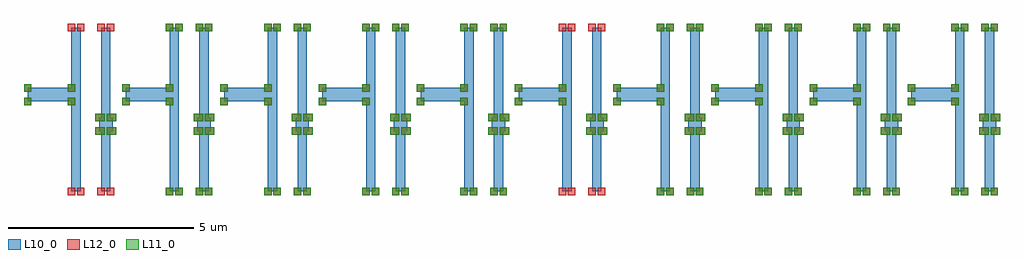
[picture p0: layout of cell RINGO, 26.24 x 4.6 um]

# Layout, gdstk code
import gdstk
lib = gdstk.Library(unit=1e-6, precision=1e-09)
def R(c, l, rs):  # rectangles x0, y0, x1, y1
    for r in rs: c.add(gdstk.rectangle(r[:2], r[2:], *l))
def A(c, l, x, y, w, h, nx, ny, dx, dy):  # array of equal rectangles
    R(c, l, [(x+i*dx, y+j*dy, x+i*dx+w, y+j*dy+h) for i in range(nx) for j in range(ny)])
L10_0 = (10, 0)
L11_0 = (11, 0)
L12_0 = (12, 0)

ringo = lib.new_cell('RINGO')
A(ringo, L10_0, 0.22, 0.82, 0.36, 0.36, 10, 1, 2.64, 0)
A(ringo, L10_0, -1.7, 1.62, 1.3, 0.36, 10, 1, 2.64, 0)
R(ringo, L10_0, [(-0.525,-0.25,-0.275,2.25), (0.275,-0.25,0.525,2.25), (2.115,-0.25,2.365,2.25), (2.915,-0.25,3.165,2.25), (4.755,-0.25,5.005,2.25), (5.555,-0.25,5.805,2.25), (7.395,-0.25,7.645,2.25), (8.195,-0.25,8.445,2.25), (10.035,-0.25,10.285,2.25), (10.835,-0.25,11.085,2.25), (12.675,-0.25,12.925,2.25), (13.475,-0.25,13.725,2.25), (15.315,-0.25,15.565,2.25), (16.115,-0.25,16.365,2.25), (17.955,-0.25,18.205,2.25), (18.755,-0.25,19.005,2.25), (20.595,-0.25,20.845,2.25), (21.395,-0.25,21.645,2.25), (23.235,-0.25,23.485,2.25), (24.035,-0.25,24.285,2.25)])
R(ringo, L11_0, [(2.015,-0.9,2.215,-0.7), (2.265,-0.9,2.465,-0.7), (2.815,-0.9,3.015,-0.7), (3.065,-0.9,3.265,-0.7), (4.655,-0.9,4.855,-0.7), (4.905,-0.9,5.105,-0.7), (5.455,-0.9,5.655,-0.7), (5.705,-0.9,5.905,-0.7), (7.295,-0.9,7.495,-0.7), (7.545,-0.9,7.745,-0.7), (8.095,-0.9,8.295,-0.7), (8.345,-0.9,8.545,-0.7), (9.935,-0.9,10.135,-0.7), (10.185,-0.9,10.385,-0.7), (10.735,-0.9,10.935,-0.7), (10.985,-0.9,11.185,-0.7), (15.215,-0.9,15.415,-0.7), (15.465,-0.9,15.665,-0.7), (16.015,-0.9,16.215,-0.7), (16.265,-0.9,16.465,-0.7), (17.855,-0.9,18.055,-0.7), (18.105,-0.9,18.305,-0.7), (18.655,-0.9,18.855,-0.7), (18.905,-0.9,19.105,-0.7), (20.495,-0.9,20.695,-0.7), (20.745,-0.9,20.945,-0.7), (21.295,-0.9,21.495,-0.7), (21.545,-0.9,21.745,-0.7), (23.135,-0.9,23.335,-0.7), (23.385,-0.9,23.585,-0.7), (23.935,-0.9,24.135,-0.7), (24.185,-0.9,24.385,-0.7), (0.12,0.72,0.32,0.92), (0.175,0.72,0.375,0.92), (0.425,0.72,0.625,0.92), (0.48,0.72,0.68,0.92), (2.76,0.72,2.96,0.92), (2.815,0.72,3.015,0.92), (3.065,0.72,3.265,0.92), (3.12,0.72,3.32,0.92), (5.4,0.72,5.6,0.92), (5.455,0.72,5.655,0.92), (5.705,0.72,5.905,0.92), (5.76,0.72,5.96,0.92), (8.04,0.72,8.24,0.92), (8.095,0.72,8.295,0.92), (8.345,0.72,8.545,0.92), (8.4,0.72,8.6,0.92), (10.68,0.72,10.88,0.92), (10.735,0.72,10.935,0.92), (10.985,0.72,11.185,0.92), (11.04,0.72,11.24,0.92), (13.32,0.72,13.52,0.92), (13.375,0.72,13.575,0.92), (13.625,0.72,13.825,0.92), (13.68,0.72,13.88,0.92), (15.96,0.72,16.16,0.92), (16.015,0.72,16.215,0.92), (16.265,0.72,16.465,0.92), (16.32,0.72,16.52,0.92), (18.6,0.72,18.8,0.92), (18.655,0.72,18.855,0.92), (18.905,0.72,19.105,0.92), (18.96,0.72,19.16,0.92), (21.24,0.72,21.44,0.92), (21.295,0.72,21.495,0.92), (21.545,0.72,21.745,0.92), (21.6,0.72,21.8,0.92), (23.88,0.72,24.08,0.92), (23.935,0.72,24.135,0.92), (24.185,0.72,24.385,0.92), (24.24,0.72,24.44,0.92), (0.12,1.08,0.32,1.28), (0.175,1.08,0.375,1.28), (0.425,1.08,0.625,1.28), (0.48,1.08,0.68,1.28), (2.76,1.08,2.96,1.28), (2.815,1.08,3.015,1.28), (3.065,1.08,3.265,1.28), (3.12,1.08,3.32,1.28), (5.4,1.08,5.6,1.28), (5.455,1.08,5.655,1.28), (5.705,1.08,5.905,1.28), (5.76,1.08,5.96,1.28), (8.04,1.08,8.24,1.28), (8.095,1.08,8.295,1.28), (8.345,1.08,8.545,1.28), (8.4,1.08,8.6,1.28), (10.68,1.08,10.88,1.28), (10.735,1.08,10.935,1.28), (10.985,1.08,11.185,1.28), (11.04,1.08,11.24,1.28), (13.32,1.08,13.52,1.28), (13.375,1.08,13.575,1.28), (13.625,1.08,13.825,1.28), (13.68,1.08,13.88,1.28), (15.96,1.08,16.16,1.28), (16.015,1.08,16.215,1.28), (16.265,1.08,16.465,1.28), (16.32,1.08,16.52,1.28), (18.6,1.08,18.8,1.28), (18.655,1.08,18.855,1.28), (18.905,1.08,19.105,1.28), (18.96,1.08,19.16,1.28), (21.24,1.08,21.44,1.28), (21.295,1.08,21.495,1.28), (21.545,1.08,21.745,1.28), (21.6,1.08,21.8,1.28), (23.88,1.08,24.08,1.28), (23.935,1.08,24.135,1.28), (24.185,1.08,24.385,1.28), (24.24,1.08,24.44,1.28), (-1.8,1.52,-1.6,1.72), (-0.625,1.52,-0.425,1.72), (0.84,1.52,1.04,1.72), (2.015,1.52,2.215,1.72), (3.48,1.52,3.68,1.72), (4.655,1.52,4.855,1.72), (6.12,1.52,6.32,1.72), (7.295,1.52,7.495,1.72), (8.76,1.52,8.96,1.72), (9.935,1.52,10.135,1.72), (11.4,1.52,11.6,1.72), (12.575,1.52,12.775,1.72), (14.04,1.52,14.24,1.72), (15.215,1.52,15.415,1.72), (16.68,1.52,16.88,1.72), (17.855,1.52,18.055,1.72), (19.32,1.52,19.52,1.72), (20.495,1.52,20.695,1.72), (21.96,1.52,22.16,1.72), (23.135,1.52,23.335,1.72), (-1.8,1.88,-1.6,2.08), (-0.625,1.88,-0.425,2.08), (0.84,1.88,1.04,2.08), (2.015,1.88,2.215,2.08), (3.48,1.88,3.68,2.08), (4.655,1.88,4.855,2.08), (6.12,1.88,6.32,2.08), (7.295,1.88,7.495,2.08), (8.76,1.88,8.96,2.08), (9.935,1.88,10.135,2.08), (11.4,1.88,11.6,2.08), (12.575,1.88,12.775,2.08), (14.04,1.88,14.24,2.08), (15.215,1.88,15.415,2.08), (16.68,1.88,16.88,2.08), (17.855,1.88,18.055,2.08), (19.32,1.88,19.52,2.08), (20.495,1.88,20.695,2.08), (21.96,1.88,22.16,2.08), (23.135,1.88,23.335,2.08), (2.015,3.5,2.215,3.7), (2.265,3.5,2.465,3.7), (2.815,3.5,3.015,3.7), (3.065,3.5,3.265,3.7), (4.655,3.5,4.855,3.7), (4.905,3.5,5.105,3.7), (5.455,3.5,5.655,3.7), (5.705,3.5,5.905,3.7), (7.295,3.5,7.495,3.7), (7.545,3.5,7.745,3.7), (8.095,3.5,8.295,3.7), (8.345,3.5,8.545,3.7), (9.935,3.5,10.135,3.7), (10.185,3.5,10.385,3.7), (10.735,3.5,10.935,3.7), (10.985,3.5,11.185,3.7), (15.215,3.5,15.415,3.7), (15.465,3.5,15.665,3.7), (16.015,3.5,16.215,3.7), (16.265,3.5,16.465,3.7), (17.855,3.5,18.055,3.7), (18.105,3.5,18.305,3.7), (18.655,3.5,18.855,3.7), (18.905,3.5,19.105,3.7), (20.495,3.5,20.695,3.7), (20.745,3.5,20.945,3.7), (21.295,3.5,21.495,3.7), (21.545,3.5,21.745,3.7), (23.135,3.5,23.335,3.7), (23.385,3.5,23.585,3.7), (23.935,3.5,24.135,3.7), (24.185,3.5,24.385,3.7)])
R(ringo, L12_0, [(-0.625,-0.9,-0.425,-0.7), (-0.375,-0.9,-0.175,-0.7), (0.175,-0.9,0.375,-0.7), (0.425,-0.9,0.625,-0.7), (2.015,-0.9,2.215,-0.7), (2.265,-0.9,2.465,-0.7), (2.815,-0.9,3.015,-0.7), (3.065,-0.9,3.265,-0.7), (4.655,-0.9,4.855,-0.7), (4.905,-0.9,5.105,-0.7), (5.455,-0.9,5.655,-0.7), (5.705,-0.9,5.905,-0.7), (7.295,-0.9,7.495,-0.7), (7.545,-0.9,7.745,-0.7), (8.095,-0.9,8.295,-0.7), (8.345,-0.9,8.545,-0.7), (9.935,-0.9,10.135,-0.7), (10.185,-0.9,10.385,-0.7), (10.735,-0.9,10.935,-0.7), (10.985,-0.9,11.185,-0.7), (12.575,-0.9,12.775,-0.7), (12.825,-0.9,13.025,-0.7), (13.375,-0.9,13.575,-0.7), (13.625,-0.9,13.825,-0.7), (15.215,-0.9,15.415,-0.7), (15.465,-0.9,15.665,-0.7), (16.015,-0.9,16.215,-0.7), (16.265,-0.9,16.465,-0.7), (17.855,-0.9,18.055,-0.7), (18.105,-0.9,18.305,-0.7), (18.655,-0.9,18.855,-0.7), (18.905,-0.9,19.105,-0.7), (20.495,-0.9,20.695,-0.7), (20.745,-0.9,20.945,-0.7), (21.295,-0.9,21.495,-0.7), (21.545,-0.9,21.745,-0.7), (23.135,-0.9,23.335,-0.7), (23.385,-0.9,23.585,-0.7), (23.935,-0.9,24.135,-0.7), (24.185,-0.9,24.385,-0.7), (0.12,0.72,0.32,0.92), (0.175,0.72,0.375,0.92), (0.425,0.72,0.625,0.92), (0.48,0.72,0.68,0.92), (2.76,0.72,2.96,0.92), (2.815,0.72,3.015,0.92), (3.065,0.72,3.265,0.92), (3.12,0.72,3.32,0.92), (5.4,0.72,5.6,0.92), (5.455,0.72,5.655,0.92), (5.705,0.72,5.905,0.92), (5.76,0.72,5.96,0.92), (8.04,0.72,8.24,0.92), (8.095,0.72,8.295,0.92), (8.345,0.72,8.545,0.92), (8.4,0.72,8.6,0.92), (10.68,0.72,10.88,0.92), (10.735,0.72,10.935,0.92), (10.985,0.72,11.185,0.92), (11.04,0.72,11.24,0.92), (13.32,0.72,13.52,0.92), (13.375,0.72,13.575,0.92), (13.625,0.72,13.825,0.92), (13.68,0.72,13.88,0.92), (15.96,0.72,16.16,0.92), (16.015,0.72,16.215,0.92), (16.265,0.72,16.465,0.92), (16.32,0.72,16.52,0.92), (18.6,0.72,18.8,0.92), (18.655,0.72,18.855,0.92), (18.905,0.72,19.105,0.92), (18.96,0.72,19.16,0.92), (21.24,0.72,21.44,0.92), (21.295,0.72,21.495,0.92), (21.545,0.72,21.745,0.92), (21.6,0.72,21.8,0.92), (23.88,0.72,24.08,0.92), (23.935,0.72,24.135,0.92), (24.185,0.72,24.385,0.92), (24.24,0.72,24.44,0.92), (0.12,1.08,0.32,1.28), (0.175,1.08,0.375,1.28), (0.425,1.08,0.625,1.28), (0.48,1.08,0.68,1.28), (2.76,1.08,2.96,1.28), (2.815,1.08,3.015,1.28), (3.065,1.08,3.265,1.28), (3.12,1.08,3.32,1.28), (5.4,1.08,5.6,1.28), (5.455,1.08,5.655,1.28), (5.705,1.08,5.905,1.28), (5.76,1.08,5.96,1.28), (8.04,1.08,8.24,1.28), (8.095,1.08,8.295,1.28), (8.345,1.08,8.545,1.28), (8.4,1.08,8.6,1.28), (10.68,1.08,10.88,1.28), (10.735,1.08,10.935,1.28), (10.985,1.08,11.185,1.28), (11.04,1.08,11.24,1.28), (13.32,1.08,13.52,1.28), (13.375,1.08,13.575,1.28), (13.625,1.08,13.825,1.28), (13.68,1.08,13.88,1.28), (15.96,1.08,16.16,1.28), (16.015,1.08,16.215,1.28), (16.265,1.08,16.465,1.28), (16.32,1.08,16.52,1.28), (18.6,1.08,18.8,1.28), (18.655,1.08,18.855,1.28), (18.905,1.08,19.105,1.28), (18.96,1.08,19.16,1.28), (21.24,1.08,21.44,1.28), (21.295,1.08,21.495,1.28), (21.545,1.08,21.745,1.28), (21.6,1.08,21.8,1.28), (23.88,1.08,24.08,1.28), (23.935,1.08,24.135,1.28), (24.185,1.08,24.385,1.28), (24.24,1.08,24.44,1.28), (-1.8,1.52,-1.6,1.72), (-0.625,1.52,-0.425,1.72), (0.84,1.52,1.04,1.72), (2.015,1.52,2.215,1.72), (3.48,1.52,3.68,1.72), (4.655,1.52,4.855,1.72), (6.12,1.52,6.32,1.72), (7.295,1.52,7.495,1.72), (8.76,1.52,8.96,1.72), (9.935,1.52,10.135,1.72), (11.4,1.52,11.6,1.72), (12.575,1.52,12.775,1.72), (14.04,1.52,14.24,1.72), (15.215,1.52,15.415,1.72), (16.68,1.52,16.88,1.72), (17.855,1.52,18.055,1.72), (19.32,1.52,19.52,1.72), (20.495,1.52,20.695,1.72), (21.96,1.52,22.16,1.72), (23.135,1.52,23.335,1.72), (-1.8,1.88,-1.6,2.08), (-0.625,1.88,-0.425,2.08), (0.84,1.88,1.04,2.08), (2.015,1.88,2.215,2.08), (3.48,1.88,3.68,2.08), (4.655,1.88,4.855,2.08), (6.12,1.88,6.32,2.08), (7.295,1.88,7.495,2.08), (8.76,1.88,8.96,2.08), (9.935,1.88,10.135,2.08), (11.4,1.88,11.6,2.08), (12.575,1.88,12.775,2.08), (14.04,1.88,14.24,2.08), (15.215,1.88,15.415,2.08), (16.68,1.88,16.88,2.08), (17.855,1.88,18.055,2.08), (19.32,1.88,19.52,2.08), (20.495,1.88,20.695,2.08), (21.96,1.88,22.16,2.08), (23.135,1.88,23.335,2.08), (-0.625,3.5,-0.425,3.7), (-0.375,3.5,-0.175,3.7), (0.175,3.5,0.375,3.7), (0.425,3.5,0.625,3.7), (2.015,3.5,2.215,3.7), (2.265,3.5,2.465,3.7), (2.815,3.5,3.015,3.7), (3.065,3.5,3.265,3.7), (4.655,3.5,4.855,3.7), (4.905,3.5,5.105,3.7), (5.455,3.5,5.655,3.7), (5.705,3.5,5.905,3.7), (7.295,3.5,7.495,3.7), (7.545,3.5,7.745,3.7), (8.095,3.5,8.295,3.7), (8.345,3.5,8.545,3.7), (9.935,3.5,10.135,3.7), (10.185,3.5,10.385,3.7), (10.735,3.5,10.935,3.7), (10.985,3.5,11.185,3.7), (12.575,3.5,12.775,3.7), (12.825,3.5,13.025,3.7), (13.375,3.5,13.575,3.7), (13.625,3.5,13.825,3.7), (15.215,3.5,15.415,3.7), (15.465,3.5,15.665,3.7), (16.015,3.5,16.215,3.7), (16.265,3.5,16.465,3.7), (17.855,3.5,18.055,3.7), (18.105,3.5,18.305,3.7), (18.655,3.5,18.855,3.7), (18.905,3.5,19.105,3.7), (20.495,3.5,20.695,3.7), (20.745,3.5,20.945,3.7), (21.295,3.5,21.495,3.7), (21.545,3.5,21.745,3.7), (23.135,3.5,23.335,3.7), (23.385,3.5,23.585,3.7), (23.935,3.5,24.135,3.7), (24.185,3.5,24.385,3.7)])
ringo.add(gdstk.FlexPath([(-0.4,-0.8),(-0.4,0.8)], 0.25, ends="flush", simple_path=True, layer=10, datatype=0))  # L10_0
ringo.add(gdstk.FlexPath([(-0.4,2),(-0.4,3.6)], 0.25, ends="flush", simple_path=True, layer=10, datatype=0))  # L10_0
ringo.add(gdstk.FlexPath([(0.4,0.8),(0.4,-0.8)], 0.25, ends="flush", simple_path=True, layer=10, datatype=0))  # L10_0
ringo.add(gdstk.FlexPath([(0.4,3.6),(0.4,2)], 0.25, ends="flush", simple_path=True, layer=10, datatype=0))  # L10_0
ringo.add(gdstk.FlexPath([(2.24,-0.8),(2.24,0.8)], 0.25, ends="flush", simple_path=True, layer=10, datatype=0))  # L10_0
ringo.add(gdstk.FlexPath([(2.24,2),(2.24,3.6)], 0.25, ends="flush", simple_path=True, layer=10, datatype=0))  # L10_0
ringo.add(gdstk.FlexPath([(3.04,0.8),(3.04,-0.8)], 0.25, ends="flush", simple_path=True, layer=10, datatype=0))  # L10_0
ringo.add(gdstk.FlexPath([(3.04,3.6),(3.04,2)], 0.25, ends="flush", simple_path=True, layer=10, datatype=0))  # L10_0
ringo.add(gdstk.FlexPath([(4.88,-0.8),(4.88,0.8)], 0.25, ends="flush", simple_path=True, layer=10, datatype=0))  # L10_0
ringo.add(gdstk.FlexPath([(4.88,2),(4.88,3.6)], 0.25, ends="flush", simple_path=True, layer=10, datatype=0))  # L10_0
ringo.add(gdstk.FlexPath([(5.68,0.8),(5.68,-0.8)], 0.25, ends="flush", simple_path=True, layer=10, datatype=0))  # L10_0
ringo.add(gdstk.FlexPath([(5.68,3.6),(5.68,2)], 0.25, ends="flush", simple_path=True, layer=10, datatype=0))  # L10_0
ringo.add(gdstk.FlexPath([(7.52,-0.8),(7.52,0.8)], 0.25, ends="flush", simple_path=True, layer=10, datatype=0))  # L10_0
ringo.add(gdstk.FlexPath([(7.52,2),(7.52,3.6)], 0.25, ends="flush", simple_path=True, layer=10, datatype=0))  # L10_0
ringo.add(gdstk.FlexPath([(8.32,0.8),(8.32,-0.8)], 0.25, ends="flush", simple_path=True, layer=10, datatype=0))  # L10_0
ringo.add(gdstk.FlexPath([(8.32,3.6),(8.32,2)], 0.25, ends="flush", simple_path=True, layer=10, datatype=0))  # L10_0
ringo.add(gdstk.FlexPath([(10.16,-0.8),(10.16,0.8)], 0.25, ends="flush", simple_path=True, layer=10, datatype=0))  # L10_0
ringo.add(gdstk.FlexPath([(10.16,2),(10.16,3.6)], 0.25, ends="flush", simple_path=True, layer=10, datatype=0))  # L10_0
ringo.add(gdstk.FlexPath([(10.96,0.8),(10.96,-0.8)], 0.25, ends="flush", simple_path=True, layer=10, datatype=0))  # L10_0
ringo.add(gdstk.FlexPath([(10.96,3.6),(10.96,2)], 0.25, ends="flush", simple_path=True, layer=10, datatype=0))  # L10_0
ringo.add(gdstk.FlexPath([(12.8,-0.8),(12.8,0.8)], 0.25, ends="flush", simple_path=True, layer=10, datatype=0))  # L10_0
ringo.add(gdstk.FlexPath([(12.8,2),(12.8,3.6)], 0.25, ends="flush", simple_path=True, layer=10, datatype=0))  # L10_0
ringo.add(gdstk.FlexPath([(13.6,0.8),(13.6,-0.8)], 0.25, ends="flush", simple_path=True, layer=10, datatype=0))  # L10_0
ringo.add(gdstk.FlexPath([(13.6,3.6),(13.6,2)], 0.25, ends="flush", simple_path=True, layer=10, datatype=0))  # L10_0
ringo.add(gdstk.FlexPath([(15.44,-0.8),(15.44,0.8)], 0.25, ends="flush", simple_path=True, layer=10, datatype=0))  # L10_0
ringo.add(gdstk.FlexPath([(15.44,2),(15.44,3.6)], 0.25, ends="flush", simple_path=True, layer=10, datatype=0))  # L10_0
ringo.add(gdstk.FlexPath([(16.24,0.8),(16.24,-0.8)], 0.25, ends="flush", simple_path=True, layer=10, datatype=0))  # L10_0
ringo.add(gdstk.FlexPath([(16.24,3.6),(16.24,2)], 0.25, ends="flush", simple_path=True, layer=10, datatype=0))  # L10_0
ringo.add(gdstk.FlexPath([(18.08,-0.8),(18.08,0.8)], 0.25, ends="flush", simple_path=True, layer=10, datatype=0))  # L10_0
ringo.add(gdstk.FlexPath([(18.08,2),(18.08,3.6)], 0.25, ends="flush", simple_path=True, layer=10, datatype=0))  # L10_0
ringo.add(gdstk.FlexPath([(18.88,0.8),(18.88,-0.8)], 0.25, ends="flush", simple_path=True, layer=10, datatype=0))  # L10_0
ringo.add(gdstk.FlexPath([(18.88,3.6),(18.88,2)], 0.25, ends="flush", simple_path=True, layer=10, datatype=0))  # L10_0
ringo.add(gdstk.FlexPath([(20.72,-0.8),(20.72,0.8)], 0.25, ends="flush", simple_path=True, layer=10, datatype=0))  # L10_0
ringo.add(gdstk.FlexPath([(20.72,2),(20.72,3.6)], 0.25, ends="flush", simple_path=True, layer=10, datatype=0))  # L10_0
ringo.add(gdstk.FlexPath([(21.52,0.8),(21.52,-0.8)], 0.25, ends="flush", simple_path=True, layer=10, datatype=0))  # L10_0
ringo.add(gdstk.FlexPath([(21.52,3.6),(21.52,2)], 0.25, ends="flush", simple_path=True, layer=10, datatype=0))  # L10_0
ringo.add(gdstk.FlexPath([(23.36,-0.8),(23.36,0.8)], 0.25, ends="flush", simple_path=True, layer=10, datatype=0))  # L10_0
ringo.add(gdstk.FlexPath([(23.36,2),(23.36,3.6)], 0.25, ends="flush", simple_path=True, layer=10, datatype=0))  # L10_0
ringo.add(gdstk.FlexPath([(24.16,0.8),(24.16,-0.8)], 0.25, ends="flush", simple_path=True, layer=10, datatype=0))  # L10_0
ringo.add(gdstk.FlexPath([(24.16,3.6),(24.16,2)], 0.25, ends="flush", simple_path=True, layer=10, datatype=0))  # L10_0

lib.write_gds('RINGO.gds')
